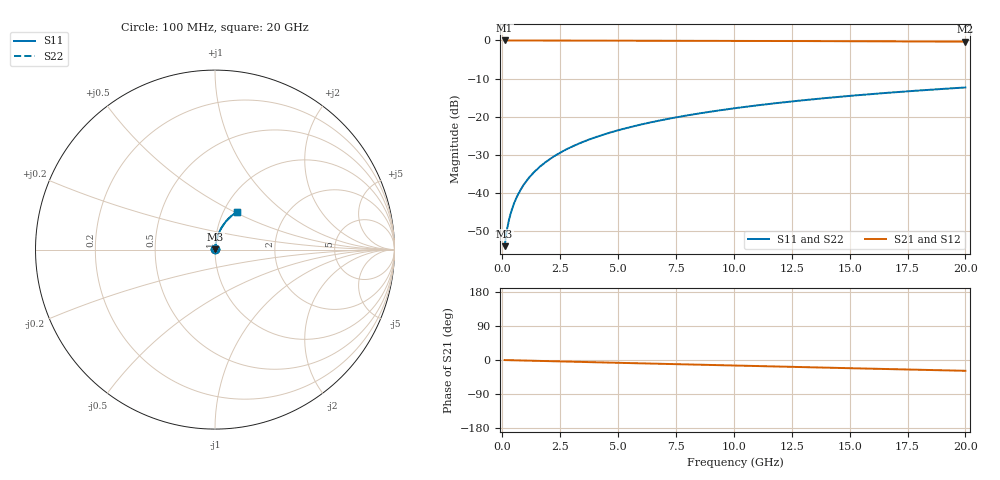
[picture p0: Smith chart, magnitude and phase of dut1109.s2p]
! Touchstone file exported from HFSS 2026.1.0
!  File:  C:/ffzhzh/LocalFiles/Ansys_Project_Files/temp_train_TMRDL_1109_1783161410_55132.aedt
!  Generated:  06:38:03 PM Jul  4, 2026
!  Design:  TMRDL
!  Project:  temp_train_TMRDL_1109_1783161410_55132
! Variables:
!  h_bsmrdl = 2um
!  h_ox = 20um
!  h_rdl = 5um
!  h_sub = 80um
!  h_tmrdl = 4.52um
!  h_tsv = 80um
!  h_via = 3um
!  l_bsmrdl = 300um
!  l_sub = 807.31um
!  l_tmrdl = 407.31um
!  m_sub = 200um
!  pitch = 53.2um
!  r_tsv = 6um
!  s_tmrdl = 10um
!  w_bsmrdl = 18um
!  w_sub = 500um
!  w_tmrdl = 28.26um
!  x_tsv_center1 = 421.44um
!  x_tsv_center2 = 739.44um
!  x_tsv_center3 = 1175.01um
!  x_tsv_center4 = 1493.01um
!  x_tsv_center5 = 1928.58um
!  x_tsv_center6 = 2246.58um
# GHz S MA R 50.000000
! Terminal data exported
! Port[1] = TM_RDL1_1_T1
! Port[2] = TM_RDL1_1_T2
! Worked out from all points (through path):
!   200 points, 100 MHz to 20 GHz, reference 50 ohm
!   highest |S21| = -0.01 dB at 100 MHz (marker M1); lowest = -0.3 dB at 20 GHz (marker M2)
!   group delay of S21, straight-line fit = 3.95 ps
!   lowest |S11| = -53.9 dB at 100 MHz (marker M3), VSWR 1.00, Z = 50.1 + j0.152 ohm
!   |S11| at or under -10 dB: start of sweep to end of sweep
!   |S22| runs from -53.9 to -12.3 dB; largest |S21 - S12| = 2.7e-15
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0.1  0.002025 48.3  0.9987 -0.2  0.9987 -0.2  0.002025 48.3
! Gamma 0 0 0 0
! Port Impedance 50 0 50 0
0.2  0.003301 63.6  0.9985 -0.3  0.9985 -0.3  0.003302 63.6
0.3  0.004623 69.9  0.9984 -0.5  0.9984 -0.5  0.004623 69.9
0.4  0.005937 73.4  0.9984 -0.6  0.9984 -0.6  0.005938 73.4
0.5  0.00725 75.7  0.9983 -0.8  0.9983 -0.8  0.007251 75.7
0.7  0.009886 78.5  0.9982 -1.1  0.9982 -1.1  0.009887 78.5
0.8  0.01121 79.4  0.9982 -1.2  0.9982 -1.2  0.01121 79.4
1  0.01387 80.7  0.9981 -1.5  0.9981 -1.5  0.01387 80.7
1.2  0.01654 81.5  0.998 -1.8  0.998 -1.8  0.01654 81.5
1.4  0.01922 82.0  0.9979 -2.1  0.9979 -2.1  0.01922 82.0
1.7  0.02323 82.3  0.9977 -2.5  0.9977 -2.5  0.02323 82.3
2  0.02724 82.4  0.9975 -3.0  0.9975 -3.0  0.02724 82.4
2.7  0.03656 82.2  0.9969 -4.0  0.9969 -4.0  0.03656 82.2
3.5  0.04711 81.4  0.9961 -5.2  0.9961 -5.2  0.04711 81.4
4.2  0.05625 80.6  0.9954 -6.2  0.9954 -6.2  0.05625 80.6
5  0.06659 79.7  0.9944 -7.4  0.9944 -7.4  0.06659 79.7
6.8  0.08946 77.4  0.9919 -10.0  0.9919 -10.0  0.08946 77.3
8.3  0.1082 75.4  0.9895 -12.2  0.9895 -12.2  0.1082 75.4
10.1  0.1302 73.0  0.9863 -14.7  0.9863 -14.7  0.1302 73.0
13.4  0.1694 68.6  0.9797 -19.4  0.9797 -19.4  0.1694 68.6
16.7  0.2068 64.2  0.9719 -24.0  0.9719 -24.0  0.2068 64.2
20  0.2421 59.9  0.9633 -28.5  0.9633 -28.5  0.2421 59.9
